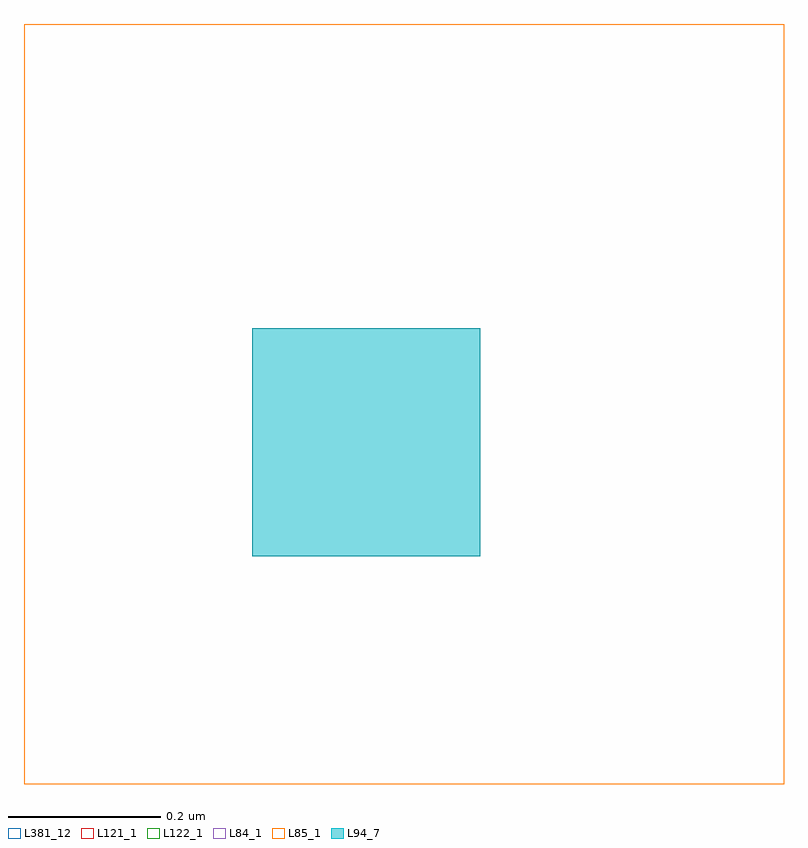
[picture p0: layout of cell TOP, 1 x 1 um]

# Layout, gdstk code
import gdstk
lib = gdstk.Library(unit=1e-6, precision=1e-09)
def R(c, l, rs):  # rectangles x0, y0, x1, y1
    for r in rs: c.add(gdstk.rectangle(r[:2], r[2:], *l))
L84_1 = (84, 1)
L85_1 = (85, 1)
L94_7 = (94, 7)
L121_1 = (121, 1)
L122_1 = (122, 1)
L381_12 = (381, 12)

top = lib.new_cell('TOP')
R(top, L84_1, [(0,0,1,1)])
R(top, L85_1, [(0,0,1,1)])
R(top, L94_7, [(0.3,0.3,0.6,0.6)])
R(top, L121_1, [(0,0,1,1)])
R(top, L122_1, [(0,0,1,1)])
R(top, L381_12, [(0,0,1,1)])

lib.write_gds('TOP.gds')
